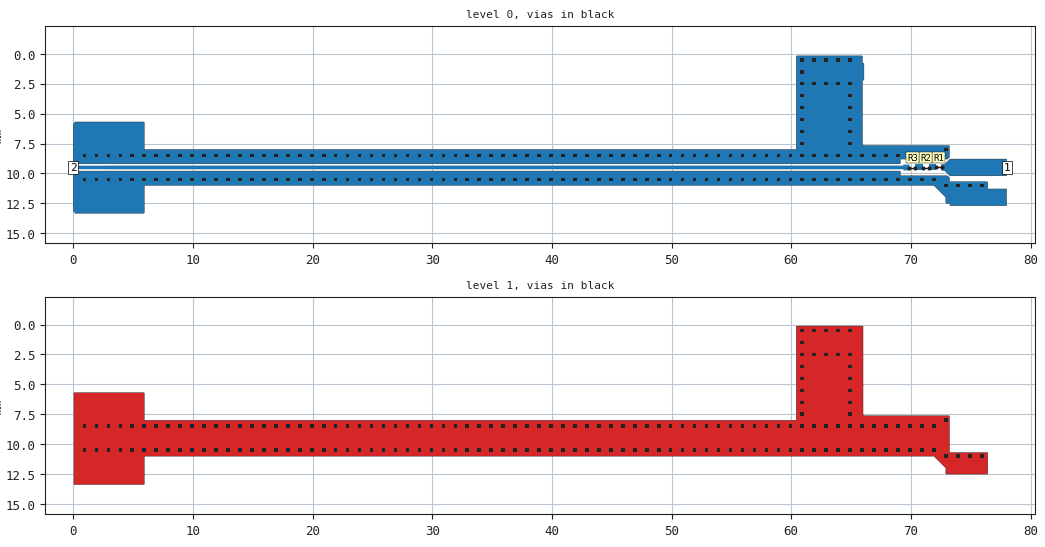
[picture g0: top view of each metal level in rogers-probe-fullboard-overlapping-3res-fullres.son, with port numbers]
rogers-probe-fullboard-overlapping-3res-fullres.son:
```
FTYP SONPROJ 17 ! Sonnet Project File
VER 17.52.2
HEADER
LIC antikernel2.2.49648 90e2ba8817c0 havequick azonenberg
DAT 08/30/2020 21:55:57
BUILT_BY_CREATED xgeom 16.56 07/03/2018 15:05:41
BUILT_BY_SAVED sonnet 17.52.2
MDATE 08/30/2020 21:53:55
HDATE 08/30/2020 21:53:55
END HEADER
DIM
ANG DEG
CAP PF
CON /OH
FREQ GHZ
IND NH
LNG MM
RES OH
END DIM
CONTROL
VARSWP
OPTIONS  -dj
SPEED 1
CACHE_ABS 1
Q_ACC N
END CONTROL
GEO
TMET "Free Space" 0 FREESPACE 376.7303136 0 0 0
BMET "Free Space" 0 FREESPACE 376.7303136 0 0 0
MET "Copper thick 1oz" 1 TMM 58000000 0.5 0.035 2
MET "Copper" 2 NOR 58000000 0.5 0.035 
BOX 2 78 13.5 6240 1080 20 0
      1 1 1 0 0 0 0 "Air"
      0.16 3.5 1 0.0037 0 0 0 "Rogers RO4350B"
      1 1 1 0 0 0 0 "Substrate"
TECHLAY METAL Metal1 <UNSPECIFIED> -2 0 
0 0 0 N 0 1 1 100 100 0 0 0 Y
END
END
TECHLAY METAL Metal2 <UNSPECIFIED> -3 0 
1 0 1 N 0 1 1 100 100 0 0 0 Y
END
END
TECHLAY VIA Via1 <UNSPECIFIED> -4 0 
VIA POLYGON
1 0 -1 N 0 1 1 100 100 0 0 0 Y
TOLEVEL 0 RING NOCOVERS
END
END
LORGN 0 13.5 U 
POR1 BOX
POLY 2139 1
33
1 50 0 0 0 78 9.5 
POR1 BOX
POLY 2145 1
7
2 50 0 0 0 0 9.5 
SMD 0 "R1"
ID 1212
GNDREF AUTO
SBOX 72.199 72.449 9.339 9.589
PBSHW N
LPOS 72.324 9.339
TYPE SPARAM 1
SMDP 0 72.574 9.464 R 3 1 
EXSMDP
GNDREF AUTO
TERMW FEED
END EXSMDP
SMDP 0 72.074 9.464 L 4 2 
EXSMDP
GNDREF AUTO
TERMW FEED
END EXSMDP
END
SMD 0 "R2"
ID 1215
GNDREF AUTO
SBOX 71.099 71.349 9.389 9.639
PBSHW N
LPOS 71.224 9.389
TYPE SPARAM 1
SMDP 0 71.474 9.514 R 5 1 
EXSMDP
GNDREF AUTO
TERMW FEED
END EXSMDP
SMDP 0 70.974 9.514 L 6 2 
EXSMDP
GNDREF AUTO
TERMW FEED
END EXSMDP
END
SMD 0 "R3"
ID 1218
GNDREF AUTO
SBOX 69.999 70.249 9.389 9.639
PBSHW N
LPOS 70.124 9.389
TYPE SPARAM 2
SMDP 0 70.374 9.514 R 7 1 
EXSMDP
GNDREF AUTO
TERMW FEED
END EXSMDP
SMDP 0 69.874 9.514 L 8 2 
EXSMDP
GNDREF AUTO
TERMW FEED
END EXSMDP
END
NUM 177
0 5 0 N 2130 1 1 100 100 0 0 0 Y
USER_DAT FromImport
70.975 9.25
70.375 9.25
70.375 9.75
70.975 9.75
70.975 9.25
END
0 5 0 N 2131 1 1 100 100 0 0 0 Y
USER_DAT FromImport
72.075 9.25
71.475 9.25
71.475 9.75
72.075 9.75
72.075 9.25
END
0 35 0 N 2139 1 1 100 100 0 0 0 Y
USER_DAT FromImport
78 8.8
73.275 8.8
73.275 8.80442
73.2743 8.8047
73.27 8.8071
73.2659 8.8098
73.2621 8.8129
73.2586 8.8164
72.8414 9.2336
72.8414 9.2336
72.8414 9.2336
72.8379 9.2371
72.8348 9.2409
72.8321 9.245
72.8297 9.2493
72.82942 9.25
72.575 9.25
72.575 9.75
72.82942 9.75
72.8297 9.7507
72.8321 9.755
72.8348 9.7591
72.8379 9.7629
72.8414 9.7664
72.8414 9.7664
72.8414 9.7664
73.2586 10.1836
73.2621 10.1871
73.2659 10.1902
73.27 10.1929
73.2743 10.1953
73.275 10.19558
73.275 10.2
78 10.2
78 8.8
END
0 153 0 N 2144 1 1 100 100 0 0 0 Y
USER_DAT FromImport
69.061 9.1943
69.0682 9.1928
69.0753 9.1907
69.0821 9.1879
69.0886 9.1844
69.0947 9.1803
69.1004 9.1756
69.1056 9.1704
69.1103 9.1647
69.1144 9.1586
69.1179 9.1521
69.1207 9.1453
69.1228 9.1382
69.1243 9.131
69.125 9.1237
69.125 8.8037
69.12532375 8.80032375
69.1287 8.8
73.0355 8.8
73.0428 8.7993
73.05 8.7978
73.0571 8.7957
73.0639 8.7929
73.0704 8.7894
73.0765 8.7853
73.0822 8.7806
73.1637 8.6991
73.16831395 8.693504353
73.19388395 8.672548495
73.1947 8.672
73.2004 8.6673
73.2056 8.6621
73.2103 8.6564
73.2144 8.6503
73.2179 8.6438
73.2207 8.637
73.2228 8.6299
73.2243 8.6227
73.225 8.6154
73.225 7.7537
73.225 7.7463
73.2243 7.739
73.2228 7.7318
73.2207 7.7247
73.2179 7.7179
73.2144 7.7114
73.2103 7.7053
73.2056 7.6996
73.2004 7.6944
73.1947 7.6897
73.1886 7.6856
73.1821 7.6821
73.1753 7.6793
73.1682 7.6772
73.161 7.6757
73.1537 7.675
66.1336 7.675
66.1263 7.6757
66.12622949 7.675714488
66.12504251 7.675829553
66.09070744 7.672475327
66.05752636 7.662374077
66.02758728 7.64638661
66.00067315 7.624326851
65.97861339 7.597412715
65.96262592 7.567473639
65.95252467 7.534292562
65.94917045 7.499957489
65.94928551 7.498770509
65.9493 7.4987
65.95 7.4914
65.95 2.2
66.075 2.2
66.075 0.8
65.95 0.8
65.95 0.2537
65.95 0.2463
65.9493 0.239
65.9478 0.2318
65.9457 0.2247
65.9429 0.2179
65.9394 0.2114
65.9353 0.2053
65.9306 0.1996
65.9254 0.1944
65.9197 0.1897
65.9136 0.1856
65.9071 0.1821
65.9003 0.1793
65.8932 0.1772
65.886 0.1757
65.8787 0.175
60.4963 0.175
60.489 0.1757
60.4818 0.1772
60.4747 0.1793
60.4679 0.1821
60.4614 0.1856
60.4553 0.1897
60.4496 0.1944
60.4444 0.1996
60.4397 0.2053
60.4356 0.2114
60.4321 0.2179
60.4293 0.2247
60.4272 0.2318
60.4257 0.239
60.425 0.2463
60.425 0.2537
60.425 7.9963
60.42467625 7.99967625
60.4213 8
5.9287 8
5.92532375 7.99967625
5.925 7.9963
5.925 5.7713
5.9243 5.764
5.9228 5.7568
5.9207 5.7497
5.9179 5.7429
5.9144 5.7364
5.9103 5.7303
5.9056 5.7246
5.9004 5.7194
5.8947 5.7147
5.8886 5.7106
5.8821 5.7071
5.8753 5.7043
5.8682 5.7022
5.861 5.7007
5.8537 5.7
0.1713 5.7
0.164 5.7007
0.1568 5.7022
0.1497 5.7043
0.1429 5.7071
0.1364 5.7106
0.1303 5.7147
0.1246 5.7194
0.1194 5.7246
0.1147 5.7303
0.1106 5.7364
0.1071 5.7429
0.1043 5.7497
0.1022 5.7568
0.1007 5.764
0.1 5.7713
0.1 5.7787
0.1 5.845
0 5.845
0 9.195
69.0537 9.195
69.061 9.1943
END
0 17 0 N 2145 1 1 100 100 0 0 0 Y
USER_DAT FromImport
69.875 9.25
69.375 9.25
69.375 9.345
2.7174 9.345
2.7022 9.3465
2.6873 9.3495
2.685640909 9.35
0 9.35
0 9.65
2.685640909 9.65
2.6873 9.6505
2.7022 9.6535
2.7174 9.655
69.375 9.655
69.375 9.75
69.875 9.75
69.875 9.25
END
0 128 0 N 2146 1 1 100 100 0 0 0 Y
USER_DAT FromImport
5.861 13.3243
5.8682 13.3228
5.8753 13.3207
5.8821 13.3179
5.8886 13.3144
5.8947 13.3103
5.9004 13.3056
5.9056 13.3004
5.9103 13.2947
5.9144 13.2886
5.9179 13.2821
5.9207 13.2753
5.9228 13.2682
5.9243 13.261
5.925 13.2537
5.925 11.0037
5.92532375 11.00032375
5.9287 11
71.9213 11
71.92479264 11.00033491
71.92778387 11.00278387
72.92221613 11.99721613
72.92466509 12.00020736
72.925 12.0037
72.925 12.4213
72.925 12.4287
72.9257 12.436
72.9272 12.4432
72.9293 12.4503
72.9321 12.4571
72.9356 12.4636
72.9397 12.4697
72.9444 12.4754
72.9496 12.4806
72.9553 12.4853
72.9614 12.4894
72.9679 12.4929
72.9747 12.4957
72.9818 12.4978
72.989 12.4993
72.9963 12.5
73.275 12.5
73.275 12.7
78 12.7
78 11.3
76.425 11.3
76.425 10.7787
76.425 10.7713
76.4243 10.764
76.4228 10.7568
76.4207 10.7497
76.4179 10.7429
76.4144 10.7364
76.4103 10.7303
76.4056 10.7246
76.4004 10.7194
76.3947 10.7147
76.3886 10.7106
76.3821 10.7071
76.3753 10.7043
76.3682 10.7022
76.361 10.7007
76.3537 10.7
73.2287 10.7
73.22532375 10.69967625
73.225 10.6963
73.225 10.3846
73.2243 10.3773
73.2228 10.3701
73.2207 10.363
73.2179 10.3562
73.2144 10.3497
73.2103 10.3436
73.2056 10.3379
73.2004 10.3327
73.1947 10.328
73.19388395 10.32745151
73.16831395 10.30649565
73.1637 10.3009
73.0822 10.2194
73.0765 10.2147
73.0704 10.2106
73.0639 10.2071
73.0571 10.2043
73.05 10.2022
73.0428 10.2007
73.0355 10.2
69.1287 10.2
69.12532375 10.19967625
69.125 10.1963
69.125 9.8763
69.1243 9.869
69.1228 9.8618
69.1207 9.8547
69.1179 9.8479
69.1144 9.8414
69.1103 9.8353
69.1056 9.8296
69.1004 9.8244
69.0947 9.8197
69.0886 9.8156
69.0821 9.8121
69.0753 9.8093
69.0682 9.8072
69.061 9.8057
69.0537 9.805
0 9.805
0 13.155
0.1 13.155
0.1 13.2463
0.1 13.2537
0.1007 13.261
0.1022 13.2682
0.1043 13.2753
0.1071 13.2821
0.1106 13.2886
0.1147 13.2947
0.1194 13.3004
0.1246 13.3056
0.1303 13.3103
0.1364 13.3144
0.1429 13.3179
0.1497 13.3207
0.1568 13.3228
0.164 13.3243
0.1713 13.325
5.8537 13.325
5.861 13.3243
END
VIA POLYGON
1 5 -1 N 1951 1 1 100 100 0 0 0 Y
TOLEVEL 0 RING NOCOVERS
USER_DAT FromImport
60.775 0.65
60.775 0.35
61.075 0.35
61.075 0.65
60.775 0.65
END
VIA POLYGON
1 5 -1 N 1952 1 1 100 100 0 0 0 Y
TOLEVEL 0 RING NOCOVERS
USER_DAT FromImport
60.775 1.65
60.775 1.35
61.075 1.35
61.075 1.65
60.775 1.65
END
VIA POLYGON
1 5 -1 N 1953 1 1 100 100 0 0 0 Y
TOLEVEL 0 RING NOCOVERS
USER_DAT FromImport
60.775 2.65
60.775 2.35
61.075 2.35
61.075 2.65
60.775 2.65
END
VIA POLYGON
1 5 -1 N 1954 1 1 100 100 0 0 0 Y
TOLEVEL 0 RING NOCOVERS
USER_DAT FromImport
60.775 3.65
60.775 3.35
61.075 3.35
61.075 3.65
60.775 3.65
END
VIA POLYGON
1 5 -1 N 1955 1 1 100 100 0 0 0 Y
TOLEVEL 0 RING NOCOVERS
USER_DAT FromImport
60.775 4.65
60.775 4.35
61.075 4.35
61.075 4.65
60.775 4.65
END
VIA POLYGON
1 5 -1 N 1956 1 1 100 100 0 0 0 Y
TOLEVEL 0 RING NOCOVERS
USER_DAT FromImport
60.775 5.65
60.775 5.35
61.075 5.35
61.075 5.65
60.775 5.65
END
VIA POLYGON
1 5 -1 N 1957 1 1 100 100 0 0 0 Y
TOLEVEL 0 RING NOCOVERS
USER_DAT FromImport
61.775 0.65
61.775 0.35
62.075 0.35
62.075 0.65
61.775 0.65
END
VIA POLYGON
1 5 -1 N 1958 1 1 100 100 0 0 0 Y
TOLEVEL 0 RING NOCOVERS
USER_DAT FromImport
61.775 2.65
61.775 2.35
62.075 2.35
62.075 2.65
61.775 2.65
END
VIA POLYGON
1 5 -1 N 1959 1 1 100 100 0 0 0 Y
TOLEVEL 0 RING NOCOVERS
USER_DAT FromImport
62.775 0.65
62.775 0.35
63.075 0.35
63.075 0.65
62.775 0.65
END
VIA POLYGON
1 5 -1 N 1960 1 1 100 100 0 0 0 Y
TOLEVEL 0 RING NOCOVERS
USER_DAT FromImport
62.775 2.65
62.775 2.35
63.075 2.35
63.075 2.65
62.775 2.65
END
VIA POLYGON
1 5 -1 N 1961 1 1 100 100 0 0 0 Y
TOLEVEL 0 RING NOCOVERS
USER_DAT FromImport
63.775 0.65
63.775 0.35
64.075 0.35
64.075 0.65
63.775 0.65
END
VIA POLYGON
1 5 -1 N 1962 1 1 100 100 0 0 0 Y
TOLEVEL 0 RING NOCOVERS
USER_DAT FromImport
63.775 2.65
63.775 2.35
64.075 2.35
64.075 2.65
63.775 2.65
END
VIA POLYGON
1 5 -1 N 1963 1 1 100 100 0 0 0 Y
TOLEVEL 0 RING NOCOVERS
USER_DAT FromImport
64.775 0.65
64.775 0.35
65.075 0.35
65.075 0.65
64.775 0.65
END
VIA POLYGON
1 5 -1 N 1964 1 1 100 100 0 0 0 Y
TOLEVEL 0 RING NOCOVERS
USER_DAT FromImport
64.775 2.65
64.775 2.35
65.075 2.35
65.075 2.65
64.775 2.65
END
VIA POLYGON
1 5 -1 N 1965 1 1 100 100 0 0 0 Y
TOLEVEL 0 RING NOCOVERS
USER_DAT FromImport
64.775 3.65
64.775 3.35
65.075 3.35
65.075 3.65
64.775 3.65
END
VIA POLYGON
1 5 -1 N 1966 1 1 100 100 0 0 0 Y
TOLEVEL 0 RING NOCOVERS
USER_DAT FromImport
64.775 4.65
64.775 4.35
65.075 4.35
65.075 4.65
64.775 4.65
END
VIA POLYGON
1 5 -1 N 1967 1 1 100 100 0 0 0 Y
TOLEVEL 0 RING NOCOVERS
USER_DAT FromImport
64.775 5.65
64.775 5.35
65.075 5.35
65.075 5.65
64.775 5.65
END
VIA POLYGON
1 5 -1 N 1968 1 1 100 100 0 0 0 Y
TOLEVEL 0 RING NOCOVERS
USER_DAT FromImport
8.775 10.65
8.775 10.35
9.075 10.35
9.075 10.65
8.775 10.65
END
VIA POLYGON
1 5 -1 N 1969 1 1 100 100 0 0 0 Y
TOLEVEL 0 RING NOCOVERS
USER_DAT FromImport
9.775 8.65
9.775 8.35
10.075 8.35
10.075 8.65
9.775 8.65
END
VIA POLYGON
1 5 -1 N 1970 1 1 100 100 0 0 0 Y
TOLEVEL 0 RING NOCOVERS
USER_DAT FromImport
9.775 10.65
9.775 10.35
10.075 10.35
10.075 10.65
9.775 10.65
END
VIA POLYGON
1 5 -1 N 1971 1 1 100 100 0 0 0 Y
TOLEVEL 0 RING NOCOVERS
USER_DAT FromImport
10.775 8.65
10.775 8.35
11.075 8.35
11.075 8.65
10.775 8.65
END
VIA POLYGON
1 5 -1 N 1972 1 1 100 100 0 0 0 Y
TOLEVEL 0 RING NOCOVERS
USER_DAT FromImport
10.775 10.65
10.775 10.35
11.075 10.35
11.075 10.65
10.775 10.65
END
VIA POLYGON
1 5 -1 N 1973 1 1 100 100 0 0 0 Y
TOLEVEL 0 RING NOCOVERS
USER_DAT FromImport
11.775 8.65
11.775 8.35
12.075 8.35
12.075 8.65
11.775 8.65
END
VIA POLYGON
1 5 -1 N 1974 1 1 100 100 0 0 0 Y
TOLEVEL 0 RING NOCOVERS
USER_DAT FromImport
11.775 10.65
11.775 10.35
12.075 10.35
12.075 10.65
11.775 10.65
END
VIA POLYGON
1 5 -1 N 1975 1 1 100 100 0 0 0 Y
TOLEVEL 0 RING NOCOVERS
USER_DAT FromImport
12.775 8.65
12.775 8.35
13.075 8.35
13.075 8.65
12.775 8.65
END
VIA POLYGON
1 5 -1 N 1976 1 1 100 100 0 0 0 Y
TOLEVEL 0 RING NOCOVERS
USER_DAT FromImport
12.775 10.65
12.775 10.35
13.075 10.35
13.075 10.65
12.775 10.65
END
VIA POLYGON
1 5 -1 N 1977 1 1 100 100 0 0 0 Y
TOLEVEL 0 RING NOCOVERS
USER_DAT FromImport
13.775 8.65
13.775 8.35
14.075 8.35
14.075 8.65
13.775 8.65
END
VIA POLYGON
1 5 -1 N 1978 1 1 100 100 0 0 0 Y
TOLEVEL 0 RING NOCOVERS
USER_DAT FromImport
13.775 10.65
13.775 10.35
14.075 10.35
14.075 10.65
13.775 10.65
END
VIA POLYGON
1 5 -1 N 1979 1 1 100 100 0 0 0 Y
TOLEVEL 0 RING NOCOVERS
USER_DAT FromImport
14.775 8.65
14.775 8.35
15.075 8.35
15.075 8.65
14.775 8.65
END
VIA POLYGON
1 5 -1 N 1980 1 1 100 100 0 0 0 Y
TOLEVEL 0 RING NOCOVERS
USER_DAT FromImport
14.775 10.65
14.775 10.35
15.075 10.35
15.075 10.65
14.775 10.65
END
VIA POLYGON
1 5 -1 N 1981 1 1 100 100 0 0 0 Y
TOLEVEL 0 RING NOCOVERS
USER_DAT FromImport
15.775 8.65
15.775 8.35
16.075 8.35
16.075 8.65
15.775 8.65
END
VIA POLYGON
1 5 -1 N 1982 1 1 100 100 0 0 0 Y
TOLEVEL 0 RING NOCOVERS
USER_DAT FromImport
15.775 10.65
15.775 10.35
16.075 10.35
16.075 10.65
15.775 10.65
END
VIA POLYGON
1 5 -1 N 1983 1 1 100 100 0 0 0 Y
TOLEVEL 0 RING NOCOVERS
USER_DAT FromImport
16.775 8.65
16.775 8.35
17.075 8.35
17.075 8.65
16.775 8.65
END
VIA POLYGON
1 5 -1 N 1984 1 1 100 100 0 0 0 Y
TOLEVEL 0 RING NOCOVERS
USER_DAT FromImport
16.775 10.65
16.775 10.35
17.075 10.35
17.075 10.65
16.775 10.65
END
VIA POLYGON
1 5 -1 N 1985 1 1 100 100 0 0 0 Y
TOLEVEL 0 RING NOCOVERS
USER_DAT FromImport
17.775 8.65
17.775 8.35
18.075 8.35
18.075 8.65
17.775 8.65
END
VIA POLYGON
1 5 -1 N 1986 1 1 100 100 0 0 0 Y
TOLEVEL 0 RING NOCOVERS
USER_DAT FromImport
17.775 10.65
17.775 10.35
18.075 10.35
18.075 10.65
17.775 10.65
END
VIA POLYGON
1 5 -1 N 1987 1 1 100 100 0 0 0 Y
TOLEVEL 0 RING NOCOVERS
USER_DAT FromImport
18.775 8.65
18.775 8.35
19.075 8.35
19.075 8.65
18.775 8.65
END
VIA POLYGON
1 5 -1 N 1988 1 1 100 100 0 0 0 Y
TOLEVEL 0 RING NOCOVERS
USER_DAT FromImport
18.775 10.65
18.775 10.35
19.075 10.35
19.075 10.65
18.775 10.65
END
VIA POLYGON
1 5 -1 N 1989 1 1 100 100 0 0 0 Y
TOLEVEL 0 RING NOCOVERS
USER_DAT FromImport
19.775 8.65
19.775 8.35
20.075 8.35
20.075 8.65
19.775 8.65
END
VIA POLYGON
1 5 -1 N 1990 1 1 100 100 0 0 0 Y
TOLEVEL 0 RING NOCOVERS
USER_DAT FromImport
19.775 10.65
19.775 10.35
20.075 10.35
20.075 10.65
19.775 10.65
END
VIA POLYGON
1 5 -1 N 1991 1 1 100 100 0 0 0 Y
TOLEVEL 0 RING NOCOVERS
USER_DAT FromImport
20.775 8.65
20.775 8.35
21.075 8.35
21.075 8.65
20.775 8.65
END
VIA POLYGON
1 5 -1 N 1992 1 1 100 100 0 0 0 Y
TOLEVEL 0 RING NOCOVERS
USER_DAT FromImport
20.775 10.65
20.775 10.35
21.075 10.35
21.075 10.65
20.775 10.65
END
VIA POLYGON
1 5 -1 N 1993 1 1 100 100 0 0 0 Y
TOLEVEL 0 RING NOCOVERS
USER_DAT FromImport
21.775 8.65
21.775 8.35
22.075 8.35
22.075 8.65
21.775 8.65
END
VIA POLYGON
1 5 -1 N 1994 1 1 100 100 0 0 0 Y
TOLEVEL 0 RING NOCOVERS
USER_DAT FromImport
21.775 10.65
21.775 10.35
22.075 10.35
22.075 10.65
21.775 10.65
END
VIA POLYGON
1 5 -1 N 1995 1 1 100 100 0 0 0 Y
TOLEVEL 0 RING NOCOVERS
USER_DAT FromImport
22.775 8.65
22.775 8.35
23.075 8.35
23.075 8.65
22.775 8.65
END
VIA POLYGON
1 5 -1 N 1996 1 1 100 100 0 0 0 Y
TOLEVEL 0 RING NOCOVERS
USER_DAT FromImport
22.775 10.65
22.775 10.35
23.075 10.35
23.075 10.65
22.775 10.65
END
VIA POLYGON
1 5 -1 N 1997 1 1 100 100 0 0 0 Y
TOLEVEL 0 RING NOCOVERS
USER_DAT FromImport
23.775 8.65
23.775 8.35
24.075 8.35
24.075 8.65
23.775 8.65
END
VIA POLYGON
1 5 -1 N 1998 1 1 100 100 0 0 0 Y
TOLEVEL 0 RING NOCOVERS
USER_DAT FromImport
23.775 10.65
23.775 10.35
24.075 10.35
24.075 10.65
23.775 10.65
END
VIA POLYGON
1 5 -1 N 1999 1 1 100 100 0 0 0 Y
TOLEVEL 0 RING NOCOVERS
USER_DAT FromImport
24.775 8.65
24.775 8.35
25.075 8.35
25.075 8.65
24.775 8.65
END
VIA POLYGON
1 5 -1 N 2000 1 1 100 100 0 0 0 Y
TOLEVEL 0 RING NOCOVERS
USER_DAT FromImport
24.775 10.65
24.775 10.35
25.075 10.35
25.075 10.65
24.775 10.65
END
VIA POLYGON
1 5 -1 N 2001 1 1 100 100 0 0 0 Y
TOLEVEL 0 RING NOCOVERS
USER_DAT FromImport
25.775 8.65
25.775 8.35
26.075 8.35
26.075 8.65
25.775 8.65
END
VIA POLYGON
1 5 -1 N 2002 1 1 100 100 0 0 0 Y
TOLEVEL 0 RING NOCOVERS
USER_DAT FromImport
25.775 10.65
25.775 10.35
26.075 10.35
26.075 10.65
25.775 10.65
END
VIA POLYGON
1 5 -1 N 2003 1 1 100 100 0 0 0 Y
TOLEVEL 0 RING NOCOVERS
USER_DAT FromImport
26.775 8.65
26.775 8.35
27.075 8.35
27.075 8.65
26.775 8.65
END
VIA POLYGON
1 5 -1 N 2004 1 1 100 100 0 0 0 Y
TOLEVEL 0 RING NOCOVERS
USER_DAT FromImport
26.775 10.65
26.775 10.35
27.075 10.35
27.075 10.65
26.775 10.65
END
VIA POLYGON
1 5 -1 N 2005 1 1 100 100 0 0 0 Y
TOLEVEL 0 RING NOCOVERS
USER_DAT FromImport
27.775 8.65
27.775 8.35
28.075 8.35
28.075 8.65
27.775 8.65
END
VIA POLYGON
1 5 -1 N 2006 1 1 100 100 0 0 0 Y
TOLEVEL 0 RING NOCOVERS
USER_DAT FromImport
27.775 10.65
27.775 10.35
28.075 10.35
28.075 10.65
27.775 10.65
END
VIA POLYGON
1 5 -1 N 2007 1 1 100 100 0 0 0 Y
TOLEVEL 0 RING NOCOVERS
USER_DAT FromImport
28.775 8.65
28.775 8.35
29.075 8.35
29.075 8.65
28.775 8.65
END
VIA POLYGON
1 5 -1 N 2008 1 1 100 100 0 0 0 Y
TOLEVEL 0 RING NOCOVERS
USER_DAT FromImport
28.775 10.65
28.775 10.35
29.075 10.35
29.075 10.65
28.775 10.65
END
VIA POLYGON
1 5 -1 N 2009 1 1 100 100 0 0 0 Y
TOLEVEL 0 RING NOCOVERS
USER_DAT FromImport
29.775 8.65
29.775 8.35
30.075 8.35
30.075 8.65
29.775 8.65
END
VIA POLYGON
1 5 -1 N 2010 1 1 100 100 0 0 0 Y
TOLEVEL 0 RING NOCOVERS
USER_DAT FromImport
29.775 10.65
29.775 10.35
30.075 10.35
30.075 10.65
29.775 10.65
END
VIA POLYGON
1 5 -1 N 2011 1 1 100 100 0 0 0 Y
TOLEVEL 0 RING NOCOVERS
USER_DAT FromImport
30.775 8.65
30.775 8.35
31.075 8.35
31.075 8.65
30.775 8.65
END
VIA POLYGON
1 5 -1 N 2012 1 1 100 100 0 0 0 Y
TOLEVEL 0 RING NOCOVERS
USER_DAT FromImport
30.775 10.65
30.775 10.35
31.075 10.35
31.075 10.65
30.775 10.65
END
VIA POLYGON
1 5 -1 N 2013 1 1 100 100 0 0 0 Y
TOLEVEL 0 RING NOCOVERS
USER_DAT FromImport
31.775 8.65
31.775 8.35
32.075 8.35
32.075 8.65
31.775 8.65
END
VIA POLYGON
1 5 -1 N 2014 1 1 100 100 0 0 0 Y
TOLEVEL 0 RING NOCOVERS
USER_DAT FromImport
31.775 10.65
31.775 10.35
32.075 10.35
32.075 10.65
31.775 10.65
END
VIA POLYGON
1 5 -1 N 2015 1 1 100 100 0 0 0 Y
TOLEVEL 0 RING NOCOVERS
USER_DAT FromImport
32.775 8.65
32.775 8.35
33.075 8.35
33.075 8.65
32.775 8.65
END
VIA POLYGON
1 5 -1 N 2016 1 1 100 100 0 0 0 Y
TOLEVEL 0 RING NOCOVERS
USER_DAT FromImport
32.775 10.65
32.775 10.35
33.075 10.35
33.075 10.65
32.775 10.65
END
VIA POLYGON
1 5 -1 N 2017 1 1 100 100 0 0 0 Y
TOLEVEL 0 RING NOCOVERS
USER_DAT FromImport
33.775 8.65
33.775 8.35
34.075 8.35
34.075 8.65
33.775 8.65
END
VIA POLYGON
1 5 -1 N 2018 1 1 100 100 0 0 0 Y
TOLEVEL 0 RING NOCOVERS
USER_DAT FromImport
33.775 10.65
33.775 10.35
34.075 10.35
34.075 10.65
33.775 10.65
END
VIA POLYGON
1 5 -1 N 2019 1 1 100 100 0 0 0 Y
TOLEVEL 0 RING NOCOVERS
USER_DAT FromImport
34.775 8.65
34.775 8.35
35.075 8.35
35.075 8.65
34.775 8.65
END
VIA POLYGON
1 5 -1 N 2020 1 1 100 100 0 0 0 Y
TOLEVEL 0 RING NOCOVERS
USER_DAT FromImport
34.775 10.65
34.775 10.35
35.075 10.35
35.075 10.65
34.775 10.65
END
VIA POLYGON
1 5 -1 N 2021 1 1 100 100 0 0 0 Y
TOLEVEL 0 RING NOCOVERS
USER_DAT FromImport
35.775 8.65
35.775 8.35
36.075 8.35
36.075 8.65
35.775 8.65
END
VIA POLYGON
1 5 -1 N 2022 1 1 100 100 0 0 0 Y
TOLEVEL 0 RING NOCOVERS
USER_DAT FromImport
35.775 10.65
35.775 10.35
36.075 10.35
36.075 10.65
35.775 10.65
END
VIA POLYGON
1 5 -1 N 2023 1 1 100 100 0 0 0 Y
TOLEVEL 0 RING NOCOVERS
USER_DAT FromImport
36.775 8.65
36.775 8.35
37.075 8.35
37.075 8.65
36.775 8.65
END
VIA POLYGON
1 5 -1 N 2024 1 1 100 100 0 0 0 Y
TOLEVEL 0 RING NOCOVERS
USER_DAT FromImport
36.775 10.65
36.775 10.35
37.075 10.35
37.075 10.65
36.775 10.65
END
VIA POLYGON
1 5 -1 N 2025 1 1 100 100 0 0 0 Y
TOLEVEL 0 RING NOCOVERS
USER_DAT FromImport
37.775 8.65
37.775 8.35
38.075 8.35
38.075 8.65
37.775 8.65
END
VIA POLYGON
1 5 -1 N 2026 1 1 100 100 0 0 0 Y
TOLEVEL 0 RING NOCOVERS
USER_DAT FromImport
37.775 10.65
37.775 10.35
38.075 10.35
38.075 10.65
37.775 10.65
END
VIA POLYGON
1 5 -1 N 2027 1 1 100 100 0 0 0 Y
TOLEVEL 0 RING NOCOVERS
USER_DAT FromImport
0.775 8.65
0.775 8.35
1.075 8.35
1.075 8.65
0.775 8.65
END
VIA POLYGON
1 5 -1 N 2028 1 1 100 100 0 0 0 Y
TOLEVEL 0 RING NOCOVERS
USER_DAT FromImport
0.775 10.65
0.775 10.35
1.075 10.35
1.075 10.65
0.775 10.65
END
VIA POLYGON
1 5 -1 N 2029 1 1 100 100 0 0 0 Y
TOLEVEL 0 RING NOCOVERS
USER_DAT FromImport
1.775 8.65
1.775 8.35
2.075 8.35
2.075 8.65
1.775 8.65
END
VIA POLYGON
1 5 -1 N 2030 1 1 100 100 0 0 0 Y
TOLEVEL 0 RING NOCOVERS
USER_DAT FromImport
1.775 10.65
1.775 10.35
2.075 10.35
2.075 10.65
1.775 10.65
END
VIA POLYGON
1 5 -1 N 2031 1 1 100 100 0 0 0 Y
TOLEVEL 0 RING NOCOVERS
USER_DAT FromImport
2.775 8.65
2.775 8.35
3.075 8.35
3.075 8.65
2.775 8.65
END
VIA POLYGON
1 5 -1 N 2032 1 1 100 100 0 0 0 Y
TOLEVEL 0 RING NOCOVERS
USER_DAT FromImport
2.775 10.65
2.775 10.35
3.075 10.35
3.075 10.65
2.775 10.65
END
VIA POLYGON
1 5 -1 N 2033 1 1 100 100 0 0 0 Y
TOLEVEL 0 RING NOCOVERS
USER_DAT FromImport
3.775 8.65
3.775 8.35
4.075 8.35
4.075 8.65
3.775 8.65
END
VIA POLYGON
1 5 -1 N 2034 1 1 100 100 0 0 0 Y
TOLEVEL 0 RING NOCOVERS
USER_DAT FromImport
3.775 10.65
3.775 10.35
4.075 10.35
4.075 10.65
3.775 10.65
END
VIA POLYGON
1 5 -1 N 2035 1 1 100 100 0 0 0 Y
TOLEVEL 0 RING NOCOVERS
USER_DAT FromImport
4.775 8.65
4.775 8.35
5.075 8.35
5.075 8.65
4.775 8.65
END
VIA POLYGON
1 5 -1 N 2036 1 1 100 100 0 0 0 Y
TOLEVEL 0 RING NOCOVERS
USER_DAT FromImport
4.775 10.65
4.775 10.35
5.075 10.35
5.075 10.65
4.775 10.65
END
VIA POLYGON
1 5 -1 N 2037 1 1 100 100 0 0 0 Y
TOLEVEL 0 RING NOCOVERS
USER_DAT FromImport
5.775 8.65
5.775 8.35
6.075 8.35
6.075 8.65
5.775 8.65
END
VIA POLYGON
1 5 -1 N 2038 1 1 100 100 0 0 0 Y
TOLEVEL 0 RING NOCOVERS
USER_DAT FromImport
5.775 10.65
5.775 10.35
6.075 10.35
6.075 10.65
5.775 10.65
END
VIA POLYGON
1 5 -1 N 2039 1 1 100 100 0 0 0 Y
TOLEVEL 0 RING NOCOVERS
USER_DAT FromImport
6.775 8.65
6.775 8.35
7.075 8.35
7.075 8.65
6.775 8.65
END
VIA POLYGON
1 5 -1 N 2040 1 1 100 100 0 0 0 Y
TOLEVEL 0 RING NOCOVERS
USER_DAT FromImport
6.775 10.65
6.775 10.35
7.075 10.35
7.075 10.65
6.775 10.65
END
VIA POLYGON
1 5 -1 N 2041 1 1 100 100 0 0 0 Y
TOLEVEL 0 RING NOCOVERS
USER_DAT FromImport
7.775 8.65
7.775 8.35
8.075 8.35
8.075 8.65
7.775 8.65
END
VIA POLYGON
1 5 -1 N 2042 1 1 100 100 0 0 0 Y
TOLEVEL 0 RING NOCOVERS
USER_DAT FromImport
7.775 10.65
7.775 10.35
8.075 10.35
8.075 10.65
7.775 10.65
END
VIA POLYGON
1 5 -1 N 2043 1 1 100 100 0 0 0 Y
TOLEVEL 0 RING NOCOVERS
USER_DAT FromImport
8.775 8.65
8.775 8.35
9.075 8.35
9.075 8.65
8.775 8.65
END
VIA POLYGON
1 5 -1 N 2044 1 1 100 100 0 0 0 Y
TOLEVEL 0 RING NOCOVERS
USER_DAT FromImport
46.775 10.65
46.775 10.35
47.075 10.35
47.075 10.65
46.775 10.65
END
VIA POLYGON
1 5 -1 N 2045 1 1 100 100 0 0 0 Y
TOLEVEL 0 RING NOCOVERS
USER_DAT FromImport
47.775 8.65
47.775 8.35
48.075 8.35
48.075 8.65
47.775 8.65
END
VIA POLYGON
1 5 -1 N 2046 1 1 100 100 0 0 0 Y
TOLEVEL 0 RING NOCOVERS
USER_DAT FromImport
47.775 10.65
47.775 10.35
48.075 10.35
48.075 10.65
47.775 10.65
END
VIA POLYGON
1 5 -1 N 2047 1 1 100 100 0 0 0 Y
TOLEVEL 0 RING NOCOVERS
USER_DAT FromImport
48.775 8.65
48.775 8.35
49.075 8.35
49.075 8.65
48.775 8.65
END
VIA POLYGON
1 5 -1 N 2048 1 1 100 100 0 0 0 Y
TOLEVEL 0 RING NOCOVERS
USER_DAT FromImport
48.775 10.65
48.775 10.35
49.075 10.35
49.075 10.65
48.775 10.65
END
VIA POLYGON
1 5 -1 N 2049 1 1 100 100 0 0 0 Y
TOLEVEL 0 RING NOCOVERS
USER_DAT FromImport
49.775 8.65
49.775 8.35
50.075 8.35
50.075 8.65
49.775 8.65
END
VIA POLYGON
1 5 -1 N 2050 1 1 100 100 0 0 0 Y
TOLEVEL 0 RING NOCOVERS
USER_DAT FromImport
49.775 10.65
49.775 10.35
50.075 10.35
50.075 10.65
49.775 10.65
END
VIA POLYGON
1 5 -1 N 2051 1 1 100 100 0 0 0 Y
TOLEVEL 0 RING NOCOVERS
USER_DAT FromImport
50.775 8.65
50.775 8.35
51.075 8.35
51.075 8.65
50.775 8.65
END
VIA POLYGON
1 5 -1 N 2052 1 1 100 100 0 0 0 Y
TOLEVEL 0 RING NOCOVERS
USER_DAT FromImport
50.775 10.65
50.775 10.35
51.075 10.35
51.075 10.65
50.775 10.65
END
VIA POLYGON
1 5 -1 N 2053 1 1 100 100 0 0 0 Y
TOLEVEL 0 RING NOCOVERS
USER_DAT FromImport
51.775 8.65
51.775 8.35
52.075 8.35
52.075 8.65
51.775 8.65
END
VIA POLYGON
1 5 -1 N 2054 1 1 100 100 0 0 0 Y
TOLEVEL 0 RING NOCOVERS
USER_DAT FromImport
51.775 10.65
51.775 10.35
52.075 10.35
52.075 10.65
51.775 10.65
END
VIA POLYGON
1 5 -1 N 2055 1 1 100 100 0 0 0 Y
TOLEVEL 0 RING NOCOVERS
USER_DAT FromImport
52.775 8.65
52.775 8.35
53.075 8.35
53.075 8.65
52.775 8.65
END
VIA POLYGON
1 5 -1 N 2056 1 1 100 100 0 0 0 Y
TOLEVEL 0 RING NOCOVERS
USER_DAT FromImport
52.775 10.65
52.775 10.35
53.075 10.35
53.075 10.65
52.775 10.65
END
VIA POLYGON
1 5 -1 N 2057 1 1 100 100 0 0 0 Y
TOLEVEL 0 RING NOCOVERS
USER_DAT FromImport
53.775 8.65
53.775 8.35
54.075 8.35
54.075 8.65
53.775 8.65
END
VIA POLYGON
1 5 -1 N 2058 1 1 100 100 0 0 0 Y
TOLEVEL 0 RING NOCOVERS
USER_DAT FromImport
53.775 10.65
53.775 10.35
54.075 10.35
54.075 10.65
53.775 10.65
END
VIA POLYGON
1 5 -1 N 2059 1 1 100 100 0 0 0 Y
TOLEVEL 0 RING NOCOVERS
USER_DAT FromImport
54.775 8.65
54.775 8.35
55.075 8.35
55.075 8.65
54.775 8.65
END
VIA POLYGON
1 5 -1 N 2060 1 1 100 100 0 0 0 Y
TOLEVEL 0 RING NOCOVERS
USER_DAT FromImport
54.775 10.65
54.775 10.35
55.075 10.35
55.075 10.65
54.775 10.65
END
VIA POLYGON
1 5 -1 N 2061 1 1 100 100 0 0 0 Y
TOLEVEL 0 RING NOCOVERS
USER_DAT FromImport
55.775 8.65
55.775 8.35
56.075 8.35
56.075 8.65
55.775 8.65
END
VIA POLYGON
1 5 -1 N 2062 1 1 100 100 0 0 0 Y
TOLEVEL 0 RING NOCOVERS
USER_DAT FromImport
55.775 10.65
55.775 10.35
56.075 10.35
56.075 10.65
55.775 10.65
END
VIA POLYGON
1 5 -1 N 2063 1 1 100 100 0 0 0 Y
TOLEVEL 0 RING NOCOVERS
USER_DAT FromImport
56.775 8.65
56.775 8.35
57.075 8.35
57.075 8.65
56.775 8.65
END
VIA POLYGON
1 5 -1 N 2064 1 1 100 100 0 0 0 Y
TOLEVEL 0 RING NOCOVERS
USER_DAT FromImport
56.775 10.65
56.775 10.35
57.075 10.35
57.075 10.65
56.775 10.65
END
VIA POLYGON
1 5 -1 N 2065 1 1 100 100 0 0 0 Y
TOLEVEL 0 RING NOCOVERS
USER_DAT FromImport
57.775 8.65
57.775 8.35
58.075 8.35
58.075 8.65
57.775 8.65
END
VIA POLYGON
1 5 -1 N 2066 1 1 100 100 0 0 0 Y
TOLEVEL 0 RING NOCOVERS
USER_DAT FromImport
57.775 10.65
57.775 10.35
58.075 10.35
58.075 10.65
57.775 10.65
END
VIA POLYGON
1 5 -1 N 2067 1 1 100 100 0 0 0 Y
TOLEVEL 0 RING NOCOVERS
USER_DAT FromImport
58.775 8.65
58.775 8.35
59.075 8.35
59.075 8.65
58.775 8.65
END
VIA POLYGON
1 5 -1 N 2068 1 1 100 100 0 0 0 Y
TOLEVEL 0 RING NOCOVERS
USER_DAT FromImport
58.775 10.65
58.775 10.35
59.075 10.35
59.075 10.65
58.775 10.65
END
VIA POLYGON
1 5 -1 N 2069 1 1 100 100 0 0 0 Y
TOLEVEL 0 RING NOCOVERS
USER_DAT FromImport
59.775 8.65
59.775 8.35
60.075 8.35
60.075 8.65
59.775 8.65
END
VIA POLYGON
1 5 -1 N 2070 1 1 100 100 0 0 0 Y
TOLEVEL 0 RING NOCOVERS
USER_DAT FromImport
59.775 10.65
59.775 10.35
60.075 10.35
60.075 10.65
59.775 10.65
END
VIA POLYGON
1 5 -1 N 2071 1 1 100 100 0 0 0 Y
TOLEVEL 0 RING NOCOVERS
USER_DAT FromImport
38.775 8.65
38.775 8.35
39.075 8.35
39.075 8.65
38.775 8.65
END
VIA POLYGON
1 5 -1 N 2072 1 1 100 100 0 0 0 Y
TOLEVEL 0 RING NOCOVERS
USER_DAT FromImport
38.775 10.65
38.775 10.35
39.075 10.35
39.075 10.65
38.775 10.65
END
VIA POLYGON
1 5 -1 N 2073 1 1 100 100 0 0 0 Y
TOLEVEL 0 RING NOCOVERS
USER_DAT FromImport
39.775 8.65
39.775 8.35
40.075 8.35
40.075 8.65
39.775 8.65
END
VIA POLYGON
1 5 -1 N 2074 1 1 100 100 0 0 0 Y
TOLEVEL 0 RING NOCOVERS
USER_DAT FromImport
39.775 10.65
39.775 10.35
40.075 10.35
40.075 10.65
39.775 10.65
END
VIA POLYGON
1 5 -1 N 2075 1 1 100 100 0 0 0 Y
TOLEVEL 0 RING NOCOVERS
USER_DAT FromImport
40.775 8.65
40.775 8.35
41.075 8.35
41.075 8.65
40.775 8.65
END
VIA POLYGON
1 5 -1 N 2076 1 1 100 100 0 0 0 Y
TOLEVEL 0 RING NOCOVERS
USER_DAT FromImport
40.775 10.65
40.775 10.35
41.075 10.35
41.075 10.65
40.775 10.65
END
VIA POLYGON
1 5 -1 N 2077 1 1 100 100 0 0 0 Y
TOLEVEL 0 RING NOCOVERS
USER_DAT FromImport
60.775 6.65
60.775 6.35
61.075 6.35
61.075 6.65
60.775 6.65
END
VIA POLYGON
1 5 -1 N 2078 1 1 100 100 0 0 0 Y
TOLEVEL 0 RING NOCOVERS
USER_DAT FromImport
60.775 7.65
60.775 7.35
61.075 7.35
61.075 7.65
60.775 7.65
END
VIA POLYGON
1 5 -1 N 2079 1 1 100 100 0 0 0 Y
TOLEVEL 0 RING NOCOVERS
USER_DAT FromImport
60.775 8.65
60.775 8.35
61.075 8.35
61.075 8.65
60.775 8.65
END
VIA POLYGON
1 5 -1 N 2080 1 1 100 100 0 0 0 Y
TOLEVEL 0 RING NOCOVERS
USER_DAT FromImport
60.775 10.65
60.775 10.35
61.075 10.35
61.075 10.65
60.775 10.65
END
VIA POLYGON
1 5 -1 N 2081 1 1 100 100 0 0 0 Y
TOLEVEL 0 RING NOCOVERS
USER_DAT FromImport
41.775 8.65
41.775 8.35
42.075 8.35
42.075 8.65
41.775 8.65
END
VIA POLYGON
1 5 -1 N 2082 1 1 100 100 0 0 0 Y
TOLEVEL 0 RING NOCOVERS
USER_DAT FromImport
41.775 10.65
41.775 10.35
42.075 10.35
42.075 10.65
41.775 10.65
END
VIA POLYGON
1 5 -1 N 2083 1 1 100 100 0 0 0 Y
TOLEVEL 0 RING NOCOVERS
USER_DAT FromImport
61.775 8.65
61.775 8.35
62.075 8.35
62.075 8.65
61.775 8.65
END
VIA POLYGON
1 5 -1 N 2084 1 1 100 100 0 0 0 Y
TOLEVEL 0 RING NOCOVERS
USER_DAT FromImport
61.775 10.65
61.775 10.35
62.075 10.35
62.075 10.65
61.775 10.65
END
VIA POLYGON
1 5 -1 N 2085 1 1 100 100 0 0 0 Y
TOLEVEL 0 RING NOCOVERS
USER_DAT FromImport
42.775 8.65
42.775 8.35
43.075 8.35
43.075 8.65
42.775 8.65
END
VIA POLYGON
1 5 -1 N 2086 1 1 100 100 0 0 0 Y
TOLEVEL 0 RING NOCOVERS
USER_DAT FromImport
42.775 10.65
42.775 10.35
43.075 10.35
43.075 10.65
42.775 10.65
END
VIA POLYGON
1 5 -1 N 2087 1 1 100 100 0 0 0 Y
TOLEVEL 0 RING NOCOVERS
USER_DAT FromImport
62.775 8.65
62.775 8.35
63.075 8.35
63.075 8.65
62.775 8.65
END
VIA POLYGON
1 5 -1 N 2088 1 1 100 100 0 0 0 Y
TOLEVEL 0 RING NOCOVERS
USER_DAT FromImport
62.775 10.65
62.775 10.35
63.075 10.35
63.075 10.65
62.775 10.65
END
VIA POLYGON
1 5 -1 N 2089 1 1 100 100 0 0 0 Y
TOLEVEL 0 RING NOCOVERS
USER_DAT FromImport
43.775 8.65
43.775 8.35
44.075 8.35
44.075 8.65
43.775 8.65
END
VIA POLYGON
1 5 -1 N 2090 1 1 100 100 0 0 0 Y
TOLEVEL 0 RING NOCOVERS
USER_DAT FromImport
43.775 10.65
43.775 10.35
44.075 10.35
44.075 10.65
43.775 10.65
END
VIA POLYGON
1 5 -1 N 2091 1 1 100 100 0 0 0 Y
TOLEVEL 0 RING NOCOVERS
USER_DAT FromImport
63.775 8.65
63.775 8.35
64.075 8.35
64.075 8.65
63.775 8.65
END
VIA POLYGON
1 5 -1 N 2092 1 1 100 100 0 0 0 Y
TOLEVEL 0 RING NOCOVERS
USER_DAT FromImport
63.775 10.65
63.775 10.35
64.075 10.35
64.075 10.65
63.775 10.65
END
VIA POLYGON
1 5 -1 N 2093 1 1 100 100 0 0 0 Y
TOLEVEL 0 RING NOCOVERS
USER_DAT FromImport
44.775 8.65
44.775 8.35
45.075 8.35
45.075 8.65
44.775 8.65
END
VIA POLYGON
1 5 -1 N 2094 1 1 100 100 0 0 0 Y
TOLEVEL 0 RING NOCOVERS
USER_DAT FromImport
44.775 10.65
44.775 10.35
45.075 10.35
45.075 10.65
44.775 10.65
END
VIA POLYGON
1 5 -1 N 2095 1 1 100 100 0 0 0 Y
TOLEVEL 0 RING NOCOVERS
USER_DAT FromImport
45.775 8.65
45.775 8.35
46.075 8.35
46.075 8.65
45.775 8.65
END
VIA POLYGON
1 5 -1 N 2096 1 1 100 100 0 0 0 Y
TOLEVEL 0 RING NOCOVERS
USER_DAT FromImport
45.775 10.65
45.775 10.35
46.075 10.35
46.075 10.65
45.775 10.65
END
VIA POLYGON
1 5 -1 N 2097 1 1 100 100 0 0 0 Y
TOLEVEL 0 RING NOCOVERS
USER_DAT FromImport
46.775 8.65
46.775 8.35
47.075 8.35
47.075 8.65
46.775 8.65
END
VIA POLYGON
1 5 -1 N 2098 1 1 100 100 0 0 0 Y
TOLEVEL 0 RING NOCOVERS
USER_DAT FromImport
64.775 6.65
64.775 6.35
65.075 6.35
65.075 6.65
64.775 6.65
END
VIA POLYGON
1 5 -1 N 2099 1 1 100 100 0 0 0 Y
TOLEVEL 0 RING NOCOVERS
USER_DAT FromImport
64.775 7.65
64.775 7.35
65.075 7.35
65.075 7.65
64.775 7.65
END
VIA POLYGON
1 5 -1 N 2100 1 1 100 100 0 0 0 Y
TOLEVEL 0 RING NOCOVERS
USER_DAT FromImport
64.775 8.65
64.775 8.35
65.075 8.35
65.075 8.65
64.775 8.65
END
VIA POLYGON
1 5 -1 N 2101 1 1 100 100 0 0 0 Y
TOLEVEL 0 RING NOCOVERS
USER_DAT FromImport
64.775 10.65
64.775 10.35
65.075 10.35
65.075 10.65
64.775 10.65
END
VIA POLYGON
1 5 -1 N 2102 1 1 100 100 0 0 0 Y
TOLEVEL 0 RING NOCOVERS
USER_DAT FromImport
65.775 8.65
65.775 8.35
66.075 8.35
66.075 8.65
65.775 8.65
END
VIA POLYGON
1 5 -1 N 2103 1 1 100 100 0 0 0 Y
TOLEVEL 0 RING NOCOVERS
USER_DAT FromImport
65.775 10.65
65.775 10.35
66.075 10.35
66.075 10.65
65.775 10.65
END
VIA POLYGON
1 5 -1 N 2104 1 1 100 100 0 0 0 Y
TOLEVEL 0 RING NOCOVERS
USER_DAT FromImport
66.775 8.65
66.775 8.35
67.075 8.35
67.075 8.65
66.775 8.65
END
VIA POLYGON
1 5 -1 N 2105 1 1 100 100 0 0 0 Y
TOLEVEL 0 RING NOCOVERS
USER_DAT FromImport
66.775 10.65
66.775 10.35
67.075 10.35
67.075 10.65
66.775 10.65
END
VIA POLYGON
1 5 -1 N 2106 1 1 100 100 0 0 0 Y
TOLEVEL 0 RING NOCOVERS
USER_DAT FromImport
67.775 8.65
67.775 8.35
68.075 8.35
68.075 8.65
67.775 8.65
END
VIA POLYGON
1 5 -1 N 2107 1 1 100 100 0 0 0 Y
TOLEVEL 0 RING NOCOVERS
USER_DAT FromImport
67.775 10.65
67.775 10.35
68.075 10.35
68.075 10.65
67.775 10.65
END
VIA POLYGON
1 5 -1 N 2108 1 1 100 100 0 0 0 Y
TOLEVEL 0 RING NOCOVERS
USER_DAT FromImport
68.775 8.65
68.775 8.35
69.075 8.35
69.075 8.65
68.775 8.65
END
VIA POLYGON
1 5 -1 N 2109 1 1 100 100 0 0 0 Y
TOLEVEL 0 RING NOCOVERS
USER_DAT FromImport
68.775 10.65
68.775 10.35
69.075 10.35
69.075 10.65
68.775 10.65
END
VIA POLYGON
1 5 -1 N 2110 1 1 100 100 0 0 0 Y
TOLEVEL 0 RING NOCOVERS
USER_DAT FromImport
69.775 8.65
69.775 8.35
70.075 8.35
70.075 8.65
69.775 8.65
END
VIA POLYGON
1 5 -1 N 2111 1 1 100 100 0 0 0 Y
TOLEVEL 0 RING NOCOVERS
USER_DAT FromImport
69.775 10.65
69.775 10.35
70.075 10.35
70.075 10.65
69.775 10.65
END
VIA POLYGON
1 5 -1 N 2112 1 1 100 100 0 0 0 Y
TOLEVEL 0 RING NOCOVERS
USER_DAT FromImport
70.775 8.65
70.775 8.35
71.075 8.35
71.075 8.65
70.775 8.65
END
VIA POLYGON
1 5 -1 N 2113 1 1 100 100 0 0 0 Y
TOLEVEL 0 RING NOCOVERS
USER_DAT FromImport
70.775 10.65
70.775 10.35
71.075 10.35
71.075 10.65
70.775 10.65
END
VIA POLYGON
1 5 -1 N 2114 1 1 100 100 0 0 0 Y
TOLEVEL 0 RING NOCOVERS
USER_DAT FromImport
71.775 8.65
71.775 8.35
72.075 8.35
72.075 8.65
71.775 8.65
END
VIA POLYGON
1 5 -1 N 2115 1 1 100 100 0 0 0 Y
TOLEVEL 0 RING NOCOVERS
USER_DAT FromImport
71.775 10.65
71.775 10.35
72.075 10.35
72.075 10.65
71.775 10.65
END
VIA POLYGON
1 5 -1 N 2116 1 1 100 100 0 0 0 Y
TOLEVEL 0 RING NOCOVERS
USER_DAT FromImport
72.775 8.15
72.775 7.85
73.075 7.85
73.075 8.15
72.775 8.15
END
VIA POLYGON
1 5 -1 N 2117 1 1 100 100 0 0 0 Y
TOLEVEL 0 RING NOCOVERS
USER_DAT FromImport
72.775 11.15
72.775 10.85
73.075 10.85
73.075 11.15
72.775 11.15
END
VIA POLYGON
1 5 -1 N 2118 1 1 100 100 0 0 0 Y
TOLEVEL 0 RING NOCOVERS
USER_DAT FromImport
73.775 11.15
73.775 10.85
74.075 10.85
74.075 11.15
73.775 11.15
END
VIA POLYGON
1 5 -1 N 2119 1 1 100 100 0 0 0 Y
TOLEVEL 0 RING NOCOVERS
USER_DAT FromImport
74.775 11.15
74.775 10.85
75.075 10.85
75.075 11.15
74.775 11.15
END
VIA POLYGON
1 5 -1 N 2120 1 1 100 100 0 0 0 Y
TOLEVEL 0 RING NOCOVERS
USER_DAT FromImport
75.775 11.15
75.775 10.85
76.075 10.85
76.075 11.15
75.775 11.15
END
1 203 1 N 2137 1 1 100 100 0 0 0 Y
USER_DAT FromImport
5.8823 13.3745
5.8872 13.3736
5.8919 13.3721
5.8964 13.3703
5.9007 13.3679
5.9048 13.3652
5.9086 13.3621
5.9121 13.3586
5.9152 13.3548
5.9179 13.3507
5.9203 13.3464
5.9221 13.3419
5.9236 13.3372
5.9245 13.3323
5.925 13.3275
5.925 11.00243333
5.925226708 11.00022671
5.927433333 11
71.92256667 11
71.92489744 11.00023946
71.92693158 11.00193158
72.92306842 11.99806842
72.92476054 12.00010256
72.925 12.00243333
72.925 12.4475
72.925 12.4525
72.9255 12.4573
72.9264 12.4622
72.9279 12.4669
72.9297 12.4714
72.9321 12.4757
72.9348 12.4798
72.9379 12.4836
72.9414 12.4871
72.9452 12.4902
72.9493 12.4929
72.9536 12.4953
72.9581 12.4971
72.9628 12.4986
72.9677 12.4995
72.9725 12.5
76.3775 12.5
76.3823 12.4995
76.3872 12.4986
76.3919 12.4971
76.3964 12.4953
76.4007 12.4929
76.4048 12.4902
76.4086 12.4871
76.4121 12.4836
76.4152 12.4798
76.4179 12.4757
76.4203 12.4714
76.4221 12.4669
76.4236 12.4622
76.4245 12.4573
76.425 12.4525
76.425 10.7475
76.4245 10.7427
76.4236 10.7378
76.4221 10.7331
76.4203 10.7286
76.4179 10.7243
76.4152 10.7202
76.4121 10.7164
76.4086 10.7129
76.4048 10.7098
76.4007 10.7071
76.3964 10.7047
76.3919 10.7029
76.3872 10.7014
76.3823 10.7005
76.3775 10.7
73.22743333 10.7
73.22522671 10.69977329
73.225 10.69756667
73.225 7.6775
73.225 7.6725
73.2245 7.6677
73.2236 7.6628
73.2221 7.6581
73.2203 7.6536
73.2179 7.6493
73.2152 7.6452
73.2121 7.6414
73.2086 7.6379
73.2048 7.6348
73.2007 7.6321
73.1964 7.6297
73.1919 7.6279
73.1872 7.6264
73.1823 7.6255
73.1775 7.625
66.1311 7.625
66.12500646 7.625591165
66.10077491 7.623236181
66.07682255 7.615993292
66.05538296 7.604562963
66.03620686 7.588793141
66.02043704 7.569617037
66.00900671 7.548177447
66.00176382 7.524225086
65.99940884 7.499993543
66 7.4939
66 0.1775
66 0.1725
65.9995 0.1677
65.9986 0.1628
65.9971 0.1581
65.9953 0.1536
65.9929 0.1493
65.9902 0.1452
65.9871 0.1414
65.9836 0.1379
65.9798 0.1348
65.9757 0.1321
65.9714 0.1297
65.9669 0.1279
65.9622 0.1264
65.9573 0.1255
65.9525 0.125
60.4725 0.125
60.4677 0.1255
60.4628 0.1264
60.4581 0.1279
60.4536 0.1297
60.4493 0.1321
60.4452 0.1348
60.4414 0.1379
60.4379 0.1414
60.4348 0.1452
60.4321 0.1493
60.4297 0.1536
60.4279 0.1581
60.4264 0.1628
60.4255 0.1677
60.425 0.1725
60.425 0.1775
60.425 7.997566667
60.42477329 7.999773292
60.42256667 8
5.9275 8
5.925193472 7.99976464
5.925170074 7.999687918
5.925006807 7.997985277
5.928392475 5.752590294
5.9284 5.7525
5.9284 5.7475
5.928 5.7427
5.927 5.7378
5.9256 5.7331
5.9237 5.7286
5.9214 5.7243
5.9187 5.7202
5.9156 5.7164
5.913824638 5.714675362
5.9121 5.7129
5.9083 5.7098
5.9042 5.7071
5.8998 5.7047
5.8972 5.70366
5.8954 5.7029
5.8939 5.702453191
5.8906 5.7014
5.8868 5.7006875
5.8859 5.7005
5.881 5.7
0.0975 5.7
0.0927 5.7005
0.0878 5.7014
0.0831 5.7029
0.0786 5.7047
0.0743 5.7071
0.0702 5.7098
0.0664 5.7129
0.0629 5.7164
0.0598 5.7202
0.0571 5.7243
0.0547 5.7286
0.0529 5.7331
0.0514 5.7378
0.0505 5.7427
0.05 5.7475
0.05 5.7525
0.05 13.3225
0.05 13.3275
0.0505 13.3323
0.0514 13.3372
0.0529 13.3419
0.0547 13.3464
0.0571 13.3507
0.0598 13.3548
0.0629 13.3586
0.0664 13.3621
0.0702 13.3652
0.0743 13.3679
0.0786 13.3703
0.0831 13.3721
0.0878 13.3736
0.0927 13.3745
0.0975 13.375
5.8775 13.375
5.8823 13.3745
END
END GEO
OPT
MAX 100
END OPT
VARSWP
ENABLED Y
FREQ Y AY ABS_ENTRY 0.1 10.0 -1 300 
END
END VARSWP
FILEOUT
FOLDER .
END FILEOUT
SMDFILES
2 "../../../../../../share/datasheets/Vishay/0402/FC0402-FlipChip-50 Ohm.s2p"
1 "../../../../../../share/datasheets/Vishay/0402/FC0402-FlipChip-200 Ohm.s2p"
END SMDFILES
```
